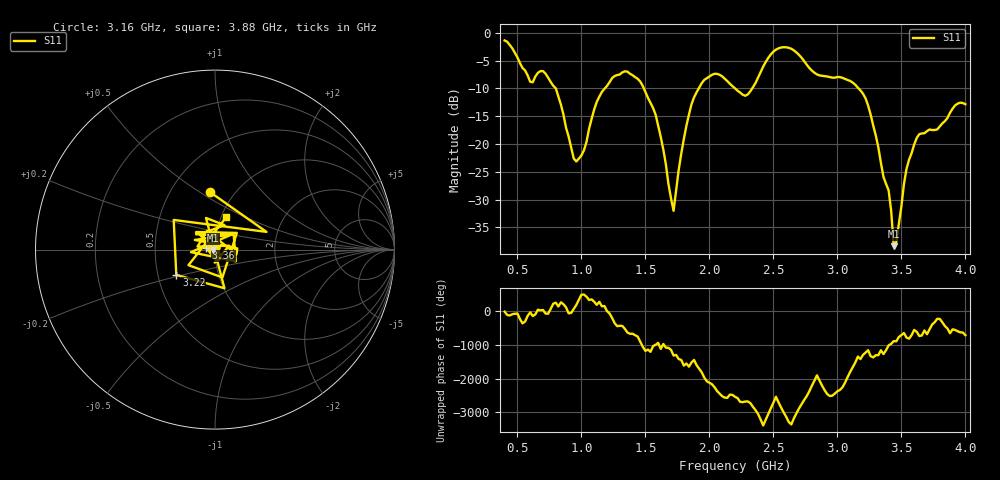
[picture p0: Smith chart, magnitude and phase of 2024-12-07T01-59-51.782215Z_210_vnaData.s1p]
!Created with skrf (http://scikit-rf.org).
# Hz S RI R 50.0
!freq ReS11 ImS11
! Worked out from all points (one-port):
!   181 points, 400 MHz to 4 GHz, reference 50 ohm
!   lowest |S11| = -38.4 dB at 3.44 GHz (marker M1), VSWR 1.02, Z = 48.9 - j0.309 ohm
!   |S11| at or under -10 dB: 800.2 MHz to 1.183 GHz (382.5 MHz wide, 38.6 % of centre); 1.488 GHz to 1.917 GHz (429.3 MHz wide, 25.2 % of centre); 3.165 GHz to end of sweep (the widest 3 of 4)
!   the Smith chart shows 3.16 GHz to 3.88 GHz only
!   S11 on the Smith chart (normalised r, x): 3.16 GHz: 0.78, +0.55; 3.22 GHz: 0.62, -0.19; 3.36 GHz: 0.91, +0.02; 3.88 GHz: 1.06, +0.40
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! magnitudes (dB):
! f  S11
! 400 MHz  -1.4
! 600 MHz  -8.8
! 720 MHz  -7.4
! 860 MHz  -14.7
! 960 MHz  -23.1
! 1.14 GHz  -11.5
! 1.3 GHz  -7.5
! 1.44 GHz  -8.3
! 1.56 GHz  -13.5
! 1.72 GHz  -32.0
! 1.76 GHz  -24.7
! 1.86 GHz  -12.9
! 1.94 GHz  -9.1
! 2.06 GHz  -7.4
! 2.2 GHz  -10.0
! 2.3 GHz  -11.1
! 2.5 GHz  -3.4
! 2.66 GHz  -3.2
! 3.1 GHz  -8.7
! 3.16 GHz  -9.9
! 3.22 GHz  -11.8
! 3.36 GHz  -25.9
! 3.4 GHz  -28.3
! 3.44 GHz  -38.4
! 3.56 GHz  -22.8
! 3.64 GHz  -18.2
! 3.88 GHz  -14.4
! 4 GHz  -12.9
